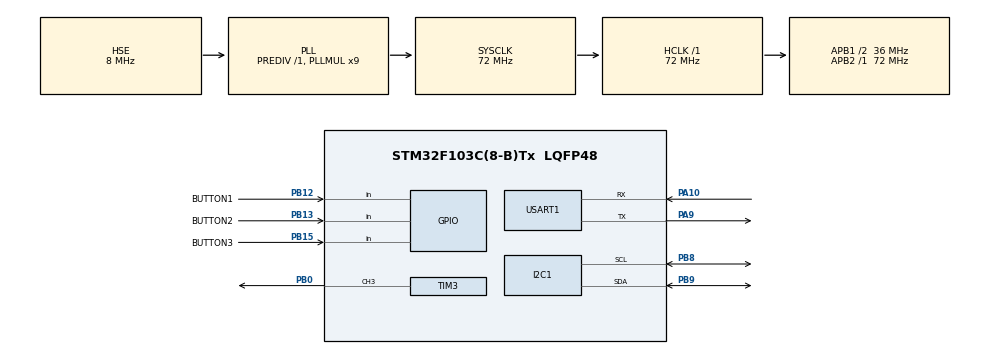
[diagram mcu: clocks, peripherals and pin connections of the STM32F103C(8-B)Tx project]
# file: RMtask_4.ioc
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Dma.I2C1_RX.0.Direction=DMA_PERIPH_TO_MEMORY
Dma.I2C1_RX.0.Instance=DMA1_Channel7
Dma.I2C1_RX.0.MemDataAlignment=DMA_MDATAALIGN_BYTE
Dma.I2C1_RX.0.MemInc=DMA_MINC_ENABLE
Dma.I2C1_RX.0.Mode=DMA_NORMAL
Dma.I2C1_RX.0.PeriphDataAlignment=DMA_PDATAALIGN_BYTE
Dma.I2C1_RX.0.PeriphInc=DMA_PINC_DISABLE
Dma.I2C1_RX.0.Priority=DMA_PRIORITY_LOW
Dma.I2C1_TX.1.Direction=DMA_MEMORY_TO_PERIPH
Dma.I2C1_TX.1.Instance=DMA1_Channel6
Dma.I2C1_TX.1.MemDataAlignment=DMA_MDATAALIGN_BYTE
Dma.I2C1_TX.1.MemInc=DMA_MINC_ENABLE
Dma.I2C1_TX.1.Mode=DMA_NORMAL
Dma.I2C1_TX.1.PeriphDataAlignment=DMA_PDATAALIGN_BYTE
Dma.I2C1_TX.1.PeriphInc=DMA_PINC_DISABLE
Dma.I2C1_TX.1.Priority=DMA_PRIORITY_LOW
Dma.Request0=I2C1_RX
Dma.Request1=I2C1_TX
Dma.Request2=USART1_RX
Dma.Request3=USART1_TX
Dma.USART1_RX.2.Direction=DMA_PERIPH_TO_MEMORY
Dma.USART1_RX.2.Instance=DMA1_Channel5
Dma.USART1_RX.2.MemDataAlignment=DMA_MDATAALIGN_BYTE
Dma.USART1_RX.2.MemInc=DMA_MINC_ENABLE
Dma.USART1_RX.2.Mode=DMA_NORMAL
Dma.USART1_RX.2.PeriphDataAlignment=DMA_PDATAALIGN_BYTE
Dma.USART1_RX.2.PeriphInc=DMA_PINC_DISABLE
Dma.USART1_RX.2.Priority=DMA_PRIORITY_LOW
Dma.USART1_TX.3.Direction=DMA_MEMORY_TO_PERIPH
Dma.USART1_TX.3.Instance=DMA1_Channel4
Dma.USART1_TX.3.MemDataAlignment=DMA_MDATAALIGN_BYTE
Dma.USART1_TX.3.MemInc=DMA_MINC_ENABLE
Dma.USART1_TX.3.Mode=DMA_NORMAL
Dma.USART1_TX.3.PeriphDataAlignment=DMA_PDATAALIGN_BYTE
Dma.USART1_TX.3.PeriphInc=DMA_PINC_DISABLE
Dma.USART1_TX.3.Priority=DMA_PRIORITY_LOW
I2C1.I2C_Mode=I2C_Fast
Mcu.Family=STM32F1
Mcu.Name=STM32F103C(8-B)Tx
Mcu.Package=LQFP48
NVIC.DMA1_Channel4_IRQn=true\:0\:0\:false\:false\:true\:false\:true\:true
NVIC.DMA1_Channel5_IRQn=true\:0\:0\:false\:false\:true\:false\:true\:true
NVIC.DMA1_Channel6_IRQn=true\:0\:0\:false\:false\:true\:false\:true\:true
NVIC.DMA1_Channel7_IRQn=true\:0\:0\:false\:false\:true\:false\:true\:true
NVIC.I2C1_ER_IRQn=true\:0\:0\:false\:false\:true\:true\:true\:true
NVIC.I2C1_EV_IRQn=true\:0\:0\:false\:false\:true\:true\:true\:true
NVIC.PriorityGroup=NVIC_PRIORITYGROUP_4
NVIC.TIM1_BRK_IRQn=true\:0\:0\:false\:false\:true\:true\:true\:true
NVIC.TIM1_CC_IRQn=true\:0\:0\:false\:false\:true\:true\:true\:true
NVIC.TIM1_TRG_COM_IRQn=true\:0\:0\:false\:false\:true\:true\:true\:true
NVIC.TIM1_UP_IRQn=true\:0\:0\:false\:false\:true\:true\:true\:true
NVIC.TIM2_IRQn=true\:0\:0\:false\:false\:true\:true\:true\:true
NVIC.TIM3_IRQn=true\:0\:0\:false\:false\:true\:true\:true\:true
NVIC.USART1_IRQn=true\:0\:0\:false\:false\:true\:false\:true\:true
PA10.Mode=Asynchronous
PA10.Signal=USART1_RX
PA13.Mode=Serial_Wire
PA13.Signal=SYS_JTMS-SWDIO
PA14.Mode=Serial_Wire
PA14.Signal=SYS_JTCK-SWCLK
PA9.Mode=Asynchronous
PA9.Signal=USART1_TX
PB0.Signal=S_TIM3_CH3
PB12.GPIO_Label=BUTTON1
PB12.GPIO_PuPd=GPIO_PULLDOWN
PB12.Signal=GPIO_Input
PB13.GPIO_Label=BUTTON2
PB13.GPIO_PuPd=GPIO_PULLDOWN
PB13.Signal=GPIO_Input
PB15.GPIO_Label=BUTTON3
PB15.GPIO_PuPd=GPIO_PULLDOWN
PB15.Signal=GPIO_Input
PB8.Mode=I2C
PB8.Signal=I2C1_SCL
PB9.Mode=I2C
PB9.Signal=I2C1_SDA
PD0-OSC_IN.Mode=HSE-External-Oscillator
PD0-OSC_IN.Signal=RCC_OSC_IN
PD1-OSC_OUT.Mode=HSE-External-Oscillator
PD1-OSC_OUT.Signal=RCC_OSC_OUT
ProjectManager.HeapSize=0x200
ProjectManager.StackSize=0x400
ProjectManager.TargetToolchain=STM32CubeIDE
RCC.AHBFreq_Value=72000000
RCC.APB1CLKDivider=RCC_HCLK_DIV2
RCC.APB1Freq_Value=36000000
RCC.APB1TimFreq_Value=72000000
RCC.APB2Freq_Value=72000000
RCC.APB2TimFreq_Value=72000000
RCC.HCLKFreq_Value=72000000
RCC.PLLMUL=RCC_PLL_MUL9
RCC.PLLSourceVirtual=RCC_PLLSOURCE_HSE
RCC.SYSCLKFreq_VALUE=72000000
RCC.SYSCLKSource=RCC_SYSCLKSOURCE_PLLCLK
RCC.USBFreq_Value=72000000
SH.S_TIM3_CH3.0=TIM3_CH3,PWM Generation3 CH3
TIM1.AutoReloadPreload=TIM_AUTORELOAD_PRELOAD_ENABLE
TIM1.Period=4999
TIM1.Prescaler=71
TIM2.AutoReloadPreload=TIM_AUTORELOAD_PRELOAD_ENABLE
TIM2.Period=9999
TIM2.Prescaler=7199
TIM3.AutoReloadPreload=TIM_AUTORELOAD_PRELOAD_ENABLE
TIM3.Channel-PWM\ Generation3\ CH3=TIM_CHANNEL_3
TIM3.Period=2999
TIM3.Prescaler=479
USART1.VirtualMode=VM_ASYNC
VP_TIM1_VS_ClockSourceINT.Mode=Internal
VP_TIM2_VS_ClockSourceINT.Mode=Internal
VP_TIM3_VS_ClockSourceINT.Mode=Internal
board=custom

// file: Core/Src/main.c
/* USER CODE BEGIN Header */
/**
  ******************************************************************************
  * @file           : main.c
  * @brief          : Main program body
  ******************************************************************************
  * @attention
  *
  * Copyright (c) 2026 STMicroelectronics.
  * All rights reserved.
  *
  * This software is licensed under terms that can be found in the LICENSE file
  * in the root directory of this software component.
  * If no LICENSE file comes with this software, it is provided AS-IS.
  *
  ******************************************************************************
  */
/* USER CODE END Header */
#include "main.h"
#include "dma.h"
#include "i2c.h"
#include "tim.h"
#include "usart.h"
#include "gpio.h"

/* USER CODE BEGIN Includes */
#include "oled.h"
#include "font.h"
#include "stdio.h"
/* USER CODE END Includes */

/* USER CODE BEGIN PV */
volatile uint32_t TIM_num = 0;                    //定时器计数
volatile uint8_t TIM_num_remainder = 0;           //记录对定时器计数取余结果
volatile uint16_t CCR = 75;                       //记录CCR
volatile float pulse = 0;                         //记录脉冲宽度
volatile uint8_t angle = 0;                       //记录当前角度
char TARGET[50] = {};                             //拼接角度
char ccr[50] = {};                                //拼接CCR
char PULSE[50] = {};                              //拼接脉冲宽度
static char Transmit_Data[50] = {};               //记录发送数据
static char Receive_Data[50] = {};                //记录接受数据

typedef enum {
  BUTTON_PRESS,           //按下
  BUTTON_RELEASE,         //松开
}BUTTON_STATE;            //枚举按键状态

typedef struct {
  GPIO_TypeDef *port;
  uint16_t pin;
  BUTTON_STATE state;            // 去抖后的稳定状态
  uint32_t debounce_time;
  uint32_t debounce_ms;
  uint8_t last_read;             // 上次原始采样电平
  uint16_t num_state1;
  volatile uint8_t press_event;  // 稳定按下时置 1
} BUTTON_DATA;

BUTTON_DATA button_list[] = {
  {GPIOB,BUTTON1_Pin,BUTTON_RELEASE,0,15,OFF,0,0},
  {GPIOB,BUTTON2_Pin,BUTTON_RELEASE,0,15,OFF,0,0},
  {GPIOB,BUTTON3_Pin,BUTTON_RELEASE,0,15,OFF,0,0},
};
uint8_t button_num = sizeof(button_list)/sizeof(BUTTON_DATA);  //记录按键个数
/* USER CODE END PV */

void SystemClock_Config(void);

/* USER CODE BEGIN 0 */
void PWM(uint32_t num1) {               //改变脉冲宽度以到不同角度
  TIM_num_remainder = num1 % 5;
  angle = TIM_num_remainder * (180 / 4);
  CCR = 75 + (375 - 75) * TIM_num_remainder/ 4;
  pulse = (float)angle / 9.00;
  __HAL_TIM_SET_COMPARE(&htim3, TIM_CHANNEL_3, CCR);
}

void BUTTON_debounce(void)
{
  for (uint8_t i = 0; i < button_num; i++) {
    BUTTON_DATA *key = &button_list[i];
    uint8_t now_level = HAL_GPIO_ReadPin(key->port, key->pin);

    if (now_level != key->last_read) {
      key->last_read = now_level;
      key->debounce_time = 0;
      continue;
    }

    if (key->debounce_time < key->debounce_ms) {
      key->debounce_time += 5;
      if (key->debounce_time < key->debounce_ms) {
        continue;
      }
    }

    if (now_level == ON && key->state != BUTTON_PRESS) {
      key->state = BUTTON_PRESS;
      key->press_event = 1;
    } else if (now_level == OFF && key->state != BUTTON_RELEASE) {
      key->state = BUTTON_RELEASE;
    }
  }
}

void HAL_UART_RxCpltCallback(UART_HandleTypeDef *huart) {
  if (huart->Instance == USART1) {

  }
}

void HAL_TIM_PeriodElapsedCallback(TIM_HandleTypeDef *htim) {
  if (htim->Instance == TIM1) {
    BUTTON_debounce();
  }
  if (htim->Instance == TIM2) {
    PWM(TIM_num);
    TIM_num ++;
    HAL_UART_Transmit_DMA(&huart1, Transmit_Data, sizeof(Transmit_Data));
  }
}
/* USER CODE END 0 */

int main(void)
{

  /* MCU Configuration--------------------------------------------------------*/

  /* Reset of all peripherals, Initializes the Flash interface and the Systick. */
  HAL_Init();

  /* Configure the system clock */
  SystemClock_Config();

  /* Initialize all configured peripherals */
  MX_GPIO_Init();
  MX_DMA_Init();
  MX_I2C1_Init();
  MX_TIM1_Init();
  MX_TIM2_Init();
  MX_TIM3_Init();
  MX_USART1_UART_Init();
  /* USER CODE BEGIN 2 */
  HAL_TIM_Base_Start_IT(&htim1);
  HAL_TIM_Base_Start_IT(&htim2);
  HAL_TIM_PWM_Start(&htim3, TIM_CHANNEL_3);
  HAL_Delay(20);
  OLED_Init();
  /* USER CODE END 2 */

  /* Infinite loop */
  /* USER CODE BEGIN WHILE */
  while (1)
  {
    if (angle < 0) {
      angle = 0;
    }
    if (angle > 180) {
      angle = 180;
    }

    sprintf(TARGET, "target: %d deg", angle);
    sprintf(ccr, "CCR: %d", CCR);
    sprintf(PULSE, "pulse: %.4lf", pulse);
    sprintf(Transmit_Data,"target: %d deg，CCR: %d，pulse: %.4lf",angle,CCR,pulse);

    BUTTON_DATA *key1 = &button_list[0];
    BUTTON_DATA *key2 = &button_list[1];
    BUTTON_DATA *key3 = &button_list[2];

    if (key1->press_event) {
      key1->press_event = 0;
      key1->num_state1 ^= 1;
    }

    if (key1->num_state1 == 1) {
      HAL_TIM_Base_Stop_IT(&htim2);
    } else {
      HAL_TIM_Base_Start_IT(&htim2);
    }

    if (key1->num_state1 == 1 && key2->press_event) {
      key2->press_event = 0;
      if (angle >= 15) {
        angle -= 15;
        CCR = 75 + (375 - 75) * angle / 180;
        pulse = (float)angle / 9.00;
        __HAL_TIM_SET_COMPARE(&htim3, TIM_CHANNEL_3, CCR);
      }
      HAL_UART_Transmit_DMA(&huart1, Transmit_Data, sizeof(Transmit_Data));
    }

    if (key1->num_state1 == 1 && key3->press_event) {
      key3->press_event = 0;
      if (angle <= 165) {
        angle += 15;
        CCR = 75 + (375 - 75) * angle / 180;
        pulse = (float)angle / 9.00;
        __HAL_TIM_SET_COMPARE(&htim3, TIM_CHANNEL_3, CCR);
      }
      HAL_UART_Transmit_DMA(&huart1, Transmit_Data, sizeof(Transmit_Data));
    }

    OLED_NewFrame();

    OLED_PrintString(0,0,TARGET,&font16x16,OLED_COLOR_NORMAL);
    OLED_PrintString(0,16,ccr,&font16x16,OLED_COLOR_NORMAL);
    OLED_PrintString(0,32,PULSE,&font16x16,OLED_COLOR_NORMAL);

    OLED_ShowFrame();
    HAL_Delay(100);
  }
    /* USER CODE END WHILE */

}

void SystemClock_Config(void)
{
  RCC_OscInitTypeDef RCC_OscInitStruct = {0};
  RCC_ClkInitTypeDef RCC_ClkInitStruct = {0};

  /** Initializes the RCC Oscillators according to the specified parameters
  * in the RCC_OscInitTypeDef structure.
  */
  RCC_OscInitStruct.OscillatorType = RCC_OSCILLATORTYPE_HSE;
  RCC_OscInitStruct.HSEState = RCC_HSE_ON;
  RCC_OscInitStruct.HSEPredivValue = RCC_HSE_PREDIV_DIV1;
  RCC_OscInitStruct.HSIState = RCC_HSI_ON;
  RCC_OscInitStruct.PLL.PLLState = RCC_PLL_ON;
  RCC_OscInitStruct.PLL.PLLSource = RCC_PLLSOURCE_HSE;
  RCC_OscInitStruct.PLL.PLLMUL = RCC_PLL_MUL9;
  if (HAL_RCC_OscConfig(&RCC_OscInitStruct) != HAL_OK)
  {
    Error_Handler();
  }

  /** Initializes the CPU, AHB and APB buses clocks
  */
  RCC_ClkInitStruct.ClockType = RCC_CLOCKTYPE_HCLK|RCC_CLOCKTYPE_SYSCLK
                              |RCC_CLOCKTYPE_PCLK1|RCC_CLOCKTYPE_PCLK2;
  RCC_ClkInitStruct.SYSCLKSource = RCC_SYSCLKSOURCE_PLLCLK;
  RCC_ClkInitStruct.AHBCLKDivider = RCC_SYSCLK_DIV1;
  RCC_ClkInitStruct.APB1CLKDivider = RCC_HCLK_DIV2;
  RCC_ClkInitStruct.APB2CLKDivider = RCC_HCLK_DIV1;

  if (HAL_RCC_ClockConfig(&RCC_ClkInitStruct, FLASH_LATENCY_2) != HAL_OK)
  {
    Error_Handler();
  }
}

void Error_Handler(void)
{
  __disable_irq();
  while (1)
  {
  }
}
